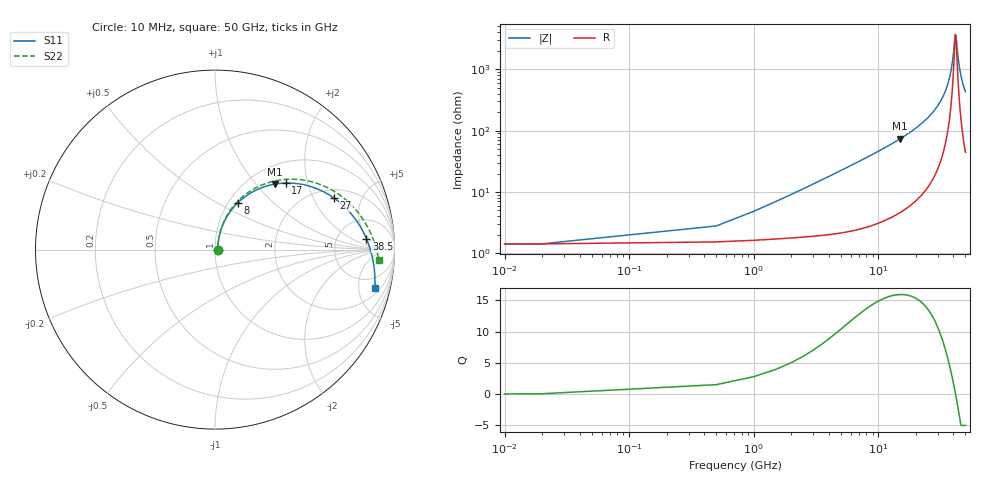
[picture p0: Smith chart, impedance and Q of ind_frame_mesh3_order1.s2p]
! Created with skrf 2.2.0 (http://scikit-rf.org).
# GHz S DB R 50.0
! Port[1] = P1
! Port[2] = P2
!freq dBS11 angS11 dBS21 angS21 dBS12 angS12 dBS22 angS22
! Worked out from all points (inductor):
!   102 points, 10 MHz to 50 GHz, reference 50 ohm
!   read as 1/Y11, port 2 shorted: L = 711 pH near 1.5 GHz
!   highest Q = 15.9 at 15 GHz (marker M1), where L = 784 pH
!   self-resonance near 41.5 GHz
!   S11 on the Smith chart (normalised r, x): 10 MHz: 1.03, +0.00; 8 GHz: 1.10, +0.63; 17 GHz: 1.40, +1.47; 27 GHz: 2.44, +2.93; 38.5 GHz: 10, +4; 50 GHz: 2.86, -7.46
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0.01  -37.05 1.8  -0.12 -0.0  -0.12 -0.0  -37.05 1.8
0.5  -32.05 51.6  -0.14 -1.5  -0.14 -1.5  -32.04 51.7
1  -27.53 65.3  -0.15 -2.9  -0.15 -2.9  -27.53 65.5
1.5  -24.43 70.3  -0.17 -4.3  -0.17 -4.3  -24.43 70.5
2  -22.12 72.4  -0.19 -5.7  -0.19 -5.7  -22.12 72.6
2.5  -20.28 73.1  -0.21 -7.0  -0.21 -7.0  -20.29 73.5
3.5  -17.48 72.8  -0.26 -9.7  -0.26 -9.7  -17.49 73.4
5  -14.51 70.5  -0.36 -13.7  -0.36 -13.7  -14.52 71.3
6.5  -12.36 67.4  -0.48 -17.7  -0.48 -17.7  -12.37 68.4
8  -10.71 63.9  -0.62 -21.5  -0.62 -21.5  -10.72 65.2
8.5  -10.23 62.7  -0.68 -22.8  -0.68 -22.8  -10.24 64.1
11.5  -7.96 55.6  -1.04 -30.1  -1.04 -30.1  -7.97 57.5
15  -6.12 47.6  -1.55 -38.1  -1.55 -38.1  -6.14 50.1
17  -5.32 43.2  -1.88 -42.4  -1.88 -42.4  -5.34 46.1
21  -4.09 34.9  -2.58 -50.5  -2.58 -50.5  -4.10 38.5
25.5  -3.09 26.2  -3.44 -59.0  -3.44 -59.0  -3.10 30.6
27  -2.82 23.4  -3.75 -61.6  -3.75 -61.6  -2.84 28.1
33.5  -1.93 12.1  -5.13 -72.4  -5.13 -72.4  -1.94 18.1
38.5  -1.45 4.0  -6.28 -80.1  -6.28 -80.1  -1.47 11.1
42  -1.19 -1.4  -7.14 -85.1  -7.14 -85.1  -1.21 6.4
46  -0.96 -7.4  -8.18 -90.7  -8.18 -90.7  -0.97 1.2
50  -0.77 -13.4  -9.31 -96.1  -9.31 -96.1  -0.77 -3.7
